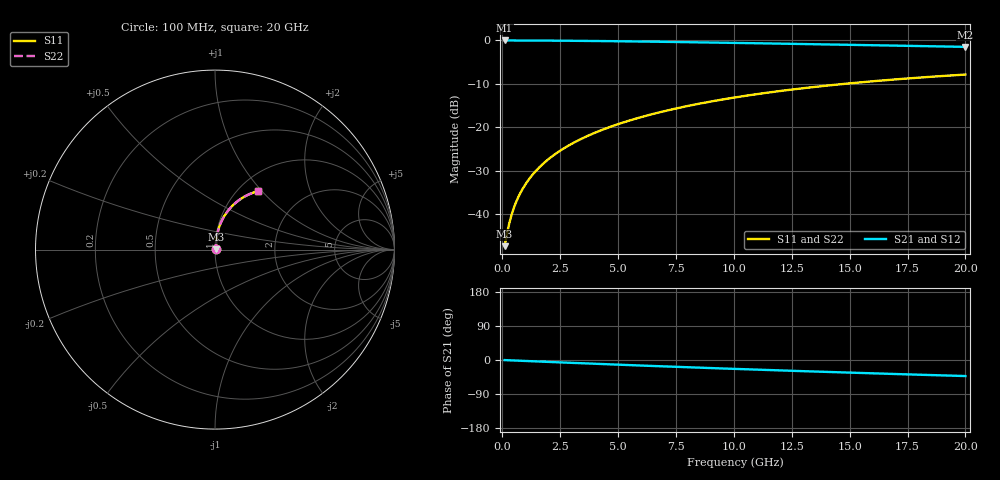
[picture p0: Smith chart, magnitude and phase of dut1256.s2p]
! Touchstone file exported from HFSS 2024.1.0
!  File:  C:/UserFiles/LocalFiles/RDL_TSV_Batchsim/temp_RDL_bottom_1256_1780245613.aedt
!  Generated:  12:42:50 AM Jun  1, 2026
!  Design:  RDL_bottom
!  Project:  temp_RDL_bottom_1256_1780245613
!  Setup:  Setup1
!  Solution:  Sweep
! Variables:
!  dtsv = 10.80580581um
!  hbump = 3um
!  htsv = 55.95um
!  ldown = 598.19um
!  lrdl = 100um
!  p = 40
!  p1 = 46.98um
!  rhole = 1um
!  t = 450um
!  tdown = 3.3um
!  trdl = 3.915915916um
!  wdown = 18.88um
!  wrdl = 20um
# GHz S MA R 50.000000
! Terminal data exported
! Port[1] = RDL1_T1
! Port[2] = RDL1_T2
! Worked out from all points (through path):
!   200 points, 100 MHz to 20 GHz, reference 50 ohm
!   highest |S21| = -0.03 dB at 100 MHz (marker M1); lowest = -1.5 dB at 20 GHz (marker M2)
!   group delay of S21, straight-line fit = 5.85 ps
!   lowest |S11| = -47.4 dB at 100 MHz (marker M3), VSWR 1.01, Z = 50.4 + j0.233 ohm
!   |S11| at or under -10 dB: start of sweep to 14.83 GHz
!   |S22| runs from -47.4 to -7.9 dB; largest |S21 - S12| = 4.2e-15
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0.1  0.004253 32.9  0.9964 -0.3  0.9964 -0.3  0.004253 32.9
! Gamma 0 0 0 0
! Port Impedance 50 0 50 0
0.2  0.005877 51.0  0.9963 -0.5  0.9963 -0.5  0.005877 51.0
0.3  0.007782 60.3  0.9961 -0.8  0.9961 -0.8  0.007782 60.3
0.4  0.009761 65.7  0.9959 -1.0  0.9959 -1.0  0.009761 65.7
0.5  0.01176 69.2  0.9957 -1.3  0.9957 -1.3  0.01176 69.2
0.6  0.01377 71.8  0.9955 -1.5  0.9955 -1.5  0.01377 71.8
0.8  0.01783 75.2  0.9952 -2.1  0.9952 -2.1  0.01783 75.2
1.1  0.024 78.2  0.9946 -2.8  0.9946 -2.8  0.024 78.2
1.3  0.02815 79.5  0.9941 -3.3  0.9941 -3.3  0.02815 79.5
1.6  0.03443 80.7  0.9933 -4.1  0.9933 -4.1  0.03443 80.7
2.1  0.04501 81.8  0.9917 -5.3  0.9917 -5.3  0.04501 81.7
2.7  0.05784 82.2  0.9893 -6.8  0.9893 -6.8  0.05784 82.2
3.5  0.07517 82.0  0.9853 -8.8  0.9853 -8.8  0.07517 82.0
4.2  0.09051 81.5  0.9813 -10.4  0.9813 -10.4  0.09051 81.5
5  0.1082 80.7  0.976 -12.3  0.976 -12.3  0.1082 80.7
5.9  0.1282 79.5  0.9694 -14.4  0.9694 -14.4  0.1282 79.5
6.8  0.1483 78.1  0.9624 -16.5  0.9624 -16.5  0.1483 78.1
8.4  0.1839 75.3  0.9489 -20.0  0.9489 -20.0  0.1839 75.3
10.1  0.2209 72.2  0.9337 -23.6  0.9337 -23.6  0.2209 72.2
13.4  0.2889 65.8  0.9029 -30.3  0.9029 -30.3  0.2888 65.8
16.7  0.3499 59.6  0.8715 -36.5  0.8715 -36.5  0.3499 59.6
20  0.4034 53.7  0.8404 -42.4  0.8404 -42.4  0.4033 53.7
